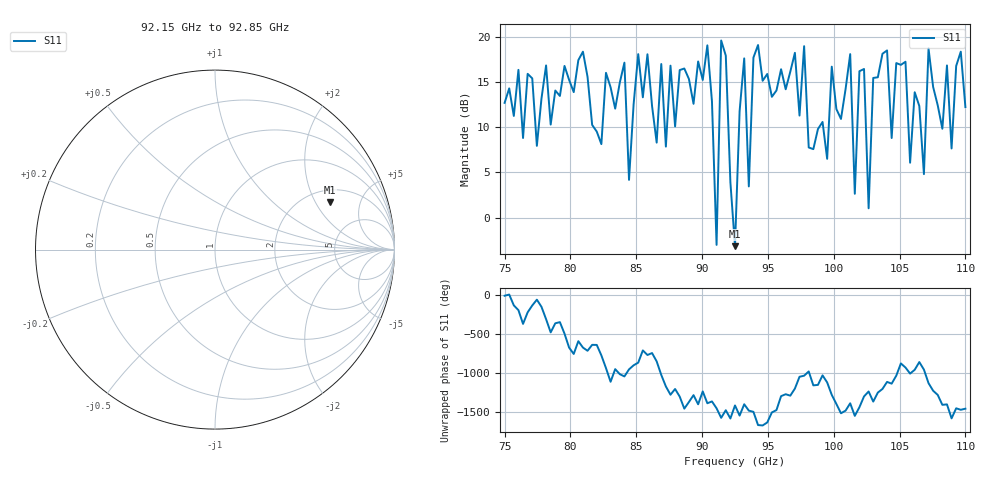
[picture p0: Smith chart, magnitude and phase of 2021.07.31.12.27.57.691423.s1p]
!Created with skrf (http://scikit-rf.org).
# GHz S RI R 50.0
!freq ReS11 ImS11
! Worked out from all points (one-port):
!   101 points, 75 GHz to 110 GHz, reference 50 ohm
!   lowest |S11| = -3.2 dB at 92.5 GHz (marker M1), VSWR 5.55, Z = 130 + j134 ohm
!   |S11| at or under -10 dB: nowhere
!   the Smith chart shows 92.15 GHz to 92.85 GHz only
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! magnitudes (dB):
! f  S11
! 75 GHz  12.7
! 79.55 GHz  16.8
! 83.75 GHz  15.0
! 84.45 GHz  4.2
! 85.15 GHz  18.1
! 87.25 GHz  7.9
! 88.3 GHz  16.3
! 90.4 GHz  19.1
! 91.1 GHz  -3.0
! 91.45 GHz  19.6
! 92.5 GHz  -3.2
! 93.2 GHz  17.6
! 93.55 GHz  3.5
! 93.9 GHz  17.7
! 97.05 GHz  18.2
! 99.5 GHz  6.5
! 101.2 GHz  18.1
! 101.6 GHz  2.6
! 102 GHz  16.2
! 102.7 GHz  1.0
! 103 GHz  15.5
! 104 GHz  18.5
! 104.4 GHz  8.8
! 105.5 GHz  17.3
! 105.8 GHz  6.1
! 106.8 GHz  4.8
! 107.2 GHz  18.7
! 110 GHz  12.2
